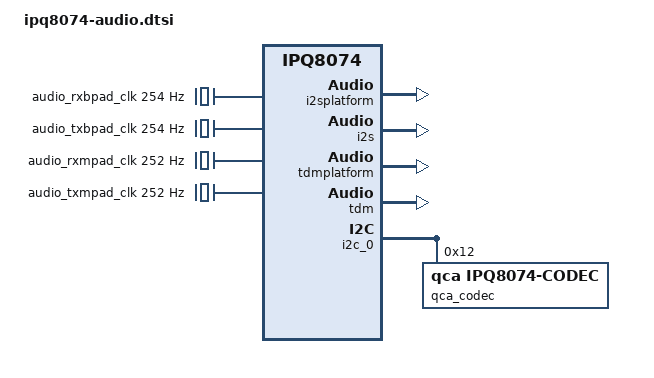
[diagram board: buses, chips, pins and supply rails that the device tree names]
/*
 * Copyright (c) 2017-2018, 2021 The Linux Foundation. All rights reserved.
 *
 * Permission to use, copy, modify, and/or distribute this software for any
 * purpose with or without fee is hereby granted, provided that the above
 * copyright notice and this permission notice appear in all copies.
 *
 * THE SOFTWARE IS PROVIDED "AS IS" AND THE AUTHOR DISCLAIMS ALL WARRANTIES
 * WITH REGARD TO THIS SOFTWARE INCLUDING ALL IMPLIED WARRANTIES OF
 * MERCHANTABILITY AND FITNESS. IN NO EVENT SHALL THE AUTHOR BE LIABLE FOR
 * ANY SPECIAL, DIRECT, INDIRECT, OR CONSEQUENTIAL DAMAGES OR ANY DAMAGES
 * WHATSOEVER RESULTING FROM LOSS OF USE, DATA OR PROFITS, WHETHER IN AN
 * ACTION OF CONTRACT, NEGLIGENCE OR OTHER TORTIOUS ACTION, ARISING OUT OF
 * OR IN CONNECTION WITH THE USE OR PERFORMANCE OF THIS SOFTWARE.
 */
#include <dt-bindings/sound/ipq8074-audio.h>
#include <dt-bindings/clock/qca,adss-ipq8074.h>

&tlmm {
	audio_gpio_pins: audio_gpio_pinmux {
		mux_1 {
			pins = "gpio25";
			function = "gpio";
			drive-strength = <8>;
			bias-pull-up;
			output-high;
		};

		mux_2 {
			pins = "gpio26";
			function = "gpio";
			drive-strength = <8>;
			bias-pull-up;
			output-high;
		};

		mux_3 {
			pins = "gpio27";
			function = "gpio";
			drive-strength = <8>;
			bias-pull-up;
			output-high;
		};

		mux_4 {
			pins = "gpio28";
			function = "gpio";
			drive-strength = <8>;
			bias-pull-up;
			output-high;
		};

		mux_5 {
			pins = "gpio29";
			function = "gpio";
			drive-strength = <8>;
			bias-pull-up;
			output-high;
		};

		mux_6 {
			pins = "gpio30";
			function = "gpio";
			drive-strength = <8>;
			bias-pull-up;
			output-high;
		};

		mux_7 {
			pins = "gpio31";
			function = "gpio";
			drive-strength = <8>;
			bias-pull-up;
			output-high;
		};

		mux_8 {
			pins = "gpio32";
			function = "gpio";
			drive-strength = <8>;
			bias-pull-up;
			output-high;
		};
	};

	audio_pins: audio_pinmux {
		mux_1 {
			pins = "gpio26";
			function = "audio_txbclk";
			drive-strength = <8>;
			bias-pull-up;
		};

		mux_2 {
			pins = "gpio27";
			function = "audio_txfsync";
			drive-strength = <8>;
			bias-pull-up;
		};

		mux_3 {
			pins = "gpio28";
			function = "audio_txd";
			drive-strength = <8>;
			bias-pull-up;
		};

		mux_4 {
			pins = "gpio30";
			function = "audio_rxbclk";
			drive-strength = <8>;
			bias-pull-up;
		};

		mux_5 {
			pins = "gpio31";
			function = "audio_rxfsync";
			drive-strength = <8>;
			bias-pull-up;
		};

		mux_6 {
			pins = "gpio32";
			function = "audio_rxd";
			drive-strength = <8>;
			bias-pull-up;
		};
	};

	audio_pins_master: audio_pinmux_master {
		mux_1 {
			pins = "gpio25";
			function = "audio_txmclk";
			drive-strength = <8>;
			bias-pull-up;
		};

		mux_2 {
			pins = "gpio29";
			function = "audio_rxmclk";
			drive-strength = <8>;
			bias-pull-up;
		};
	};

	audio_pins_slave: audio_pinmux_slave {
		mux_1 {
			pins = "gpio25";
			function = "audio_txmclk";
			drive-strength = <2>;
			bias-pull-up;
		};

		mux_2 {
			pins = "gpio29";
			function = "audio_rxmclk";
			drive-strength = <2>;
			bias-pull-up;
		};
	};

	voip_pins: voip_pinmux {
		mux_1 {
			pins = "gpio33";
			function = "pcm_drx";
			drive-strength = <8>;
			bias-pull-up;
		};

		mux_2 {
			pins = "gpio34";
			function = "pcm_dtx";
			drive-strength = <8>;
			bias-pull-up;
		};

		mux_3 {
			pins = "gpio35";
			function = "pcm_fsync";
			drive-strength = <8>;
			bias-pull-up;
		};

		mux_4 {
			pins = "gpio36";
			function = "pcm_pclk";
			drive-strength = <8>;
			bias-pull-up;
		};
	};
};

&soc {
	adss_clk: qcom,adss_clk@7700000 {
		compatible = "qcom,adss-ipq807x";
		reg = <0x7700100 0x200>;
		#clock-cells = <0x1>;
	};

	audio: audio@7700000 {
		compatible = "qca,ipq8074-audio-adss";
		reg = <0x7700000 0x34>;
		resets = <&gcc GCC_ADSS_BCR>;
		reset-names = "blk_rst";
	};

	mbox0: mbox@7708000 {
		dma-index = <0>;
		compatible = "qca,ipq8074-mbox";
		reg = <0x7708000 0x1000>;
		interrupts = <GIC_SPI 24 IRQ_TYPE_LEVEL_HIGH>;
		tx-channel = <MBOX0_TX_ID>;
		rx-channel = <MBOX0_RX_ID>;
	};

	mbox3: mbox@770e000 {
		dma-index = <3>;
		compatible = "qca,ipq8074-mbox";
		reg = <0x770E000 0x1000>;
		interrupts = <GIC_SPI 25 IRQ_TYPE_LEVEL_HIGH>;
		tx-channel = <MBOX3_TX_ID>;
		rx-channel = <MBOX3_RX_ID>;
	};

	stereo0: stereo@7709000 {
		stereo-index = <STEREO0_ID>;
		compatible = "qca,ipq8074-stereo";
		reg = <0x7709000 0x1000>;
	};

	stereo3: stereo@770f000 {
		stereo-index = <STEREO3_ID>;
		compatible = "qca,ipq8074-stereo";
		reg = <0x770F000 0x1000>;
	};

	i2splatform: qca-pcm-i2s@7709000 {
		compatible = "qca,ipq8074-pcm-i2s";
		reg = <0x7709000 0x1000>;
	};

	i2s: ipq8074-pcm-i2s@0 {
		compatible = "qca,ipq8074-i2s";
		dma-tx-channel = <MBOX0_TX_ID>;
		stereo-tx-port = <STEREO0_ID>;
		dma-rx-channel = <MBOX3_RX_ID>;
		stereo-rx-port = <STEREO3_ID>;
		clocks = <&adss_clk ADSS_AUDIO_TXB_CLK>,
			<&adss_clk ADSS_AUDIO_TXM_CLK>,
			<&adss_clk ADSS_AUDIO_RXB_CLK>,
			<&adss_clk ADSS_AUDIO_RXM_CLK>;
		clock-names = "audio_tx_bclk",
			"audio_tx_mclk",
			"audio_rx_bclk",
			"audio_rx_mclk";
	};

	tdmplatform: qca-pcm-tdm@7709000 {
		compatible = "qca,ipq8074-pcm-tdm";
		reg = <0x7709000 0x1000>;
	};

	tdm: tdm@0 {
		compatible = "qca,ipq8074-tdm";
		dma-tx-channel = <MBOX0_TX_ID>;
		dma-rx-channel = <MBOX3_RX_ID>;
		stereo-tx-port = <STEREO0_ID>;
		stereo-rx-port = <STEREO3_ID>;
		clocks = <&adss_clk ADSS_AUDIO_TXB_CLK>,
			<&adss_clk ADSS_AUDIO_TXM_CLK>,
			<&adss_clk ADSS_AUDIO_RXB_CLK>,
			<&adss_clk ADSS_AUDIO_RXM_CLK>;
		clock-names = "audio_tx_bclk",
			"audio_tx_mclk",
			"audio_rx_bclk",
			"audio_rx_mclk";
	};

	sound: sound@0 {
		compatible = "qca,ipq8074-audio";
		pinctrl-0 = <&audio_gpio_pins>;
		pinctrl-1 = <&audio_pins &audio_pins_master>;
		pinctrl-2 = <&audio_pins &audio_pins_slave>;
		pinctrl-names = "default",
			"audio",
			"audio_slave";
	};

	pcm: pcm@7704000 {
		compatible = "qca,ipq8074-pcm";
		reg = <0x7704000 0x2000>;
		dma-tx-channel = <MBOX3_TX_ID>;
		dma-rx-channel = <MBOX0_RX_ID>;
		stereo-tx-port = <STEREO3_ID>;
		stereo-rx-port = <STEREO0_ID>;
		clocks = <&adss_clk ADSS_AUDIO_PCM_CLK>;
		clock-names = "audio_pcm_clk";
	};

	pcm_lb: pcm_lb@0 {
		compatible = "qca,ipq8074-pcm-lb";
		pinctrl-0 = <&voip_pins>;
		pinctrl-names = "default";
	};

	i2c_0: i2c@78b6000 {
		qca_codec: qca_codec@12 {
			compatible = "qca,ipq8074-codec";
			reg = <0x12>;
		};
	};
};

&clocks {
	audio_rxbpad_clk {
		compatible = "fixed-clock";
		clock-frequency = <254>;
		#clock-cells = <0>;
	};

	audio_txbpad_clk {
		compatible = "fixed-clock";
		clock-frequency = <254>;
		#clock-cells = <0>;
	};

	audio_rxmpad_clk {
		compatible = "fixed-clock";
		clock-frequency = <252>;
		#clock-cells = <0>;
	};

	audio_txmpad_clk {
		compatible = "fixed-clock";
		clock-frequency = <252>;
		#clock-cells = <0>;
	};
};
